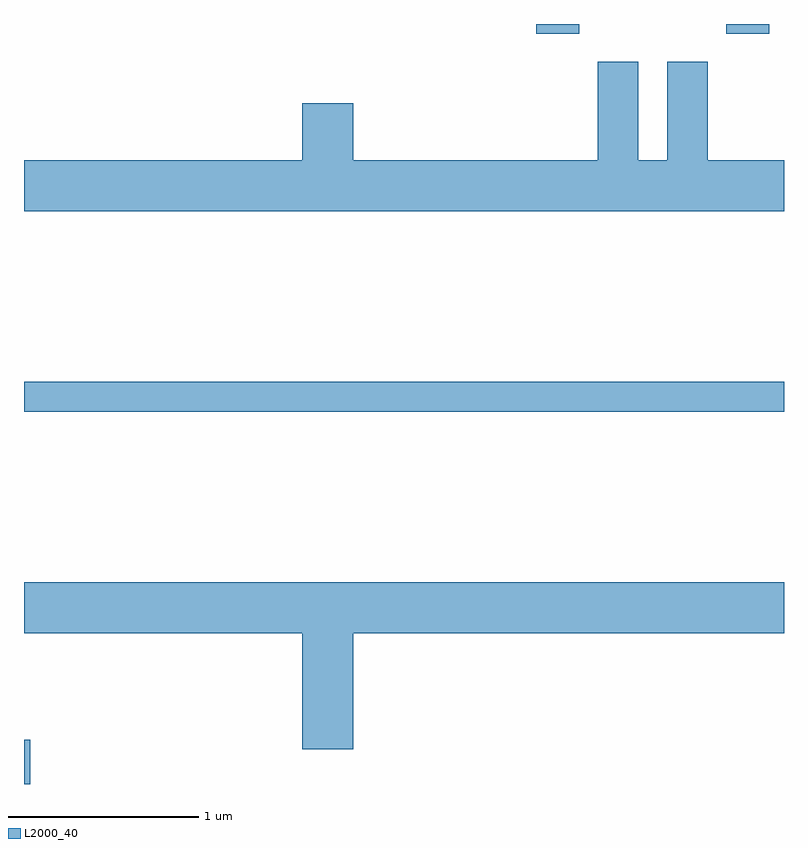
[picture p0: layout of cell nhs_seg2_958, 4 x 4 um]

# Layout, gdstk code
import gdstk
lib = gdstk.Library(unit=1e-6, precision=1e-09)
def R(c, l, rs):  # rectangles x0, y0, x1, y1
    for r in rs: c.add(gdstk.rectangle(r[:2], r[2:], *l))
def P(c, l, *ps):  # polygons
    for p in ps: c.add(gdstk.Polygon(p, *l))
L2000_40 = (2000, 40)

nhs_seg2_958 = lib.new_cell('nhs_seg2_958')
R(nhs_seg2_958, L2000_40, [(213.611,989.802,213.644,990.034), (213.611,991.761,217.611,991.919), (216.306,993.751,216.534,993.802), (217.306,993.751,217.534,993.802)])
P(nhs_seg2_958, L2000_40, [(217.611,993.084),(217.209,993.084),(217.209,993.604),(216.996,993.604),(216.996,993.084),(216.844,993.084),(216.844,993.604),(216.631,993.604),(216.631,993.084),(215.344,993.084),(215.344,993.384),(215.076,993.384),(215.076,993.084),(213.611,993.084),(213.611,992.816),(217.611,992.816)],
  [(215.344,990.596),(217.611,990.596),(217.611,990.864),(213.611,990.864),(213.611,990.596),(215.076,990.596),(215.076,989.986),(215.344,989.986)])

lib.write_gds('nhs_seg2_958.gds')
